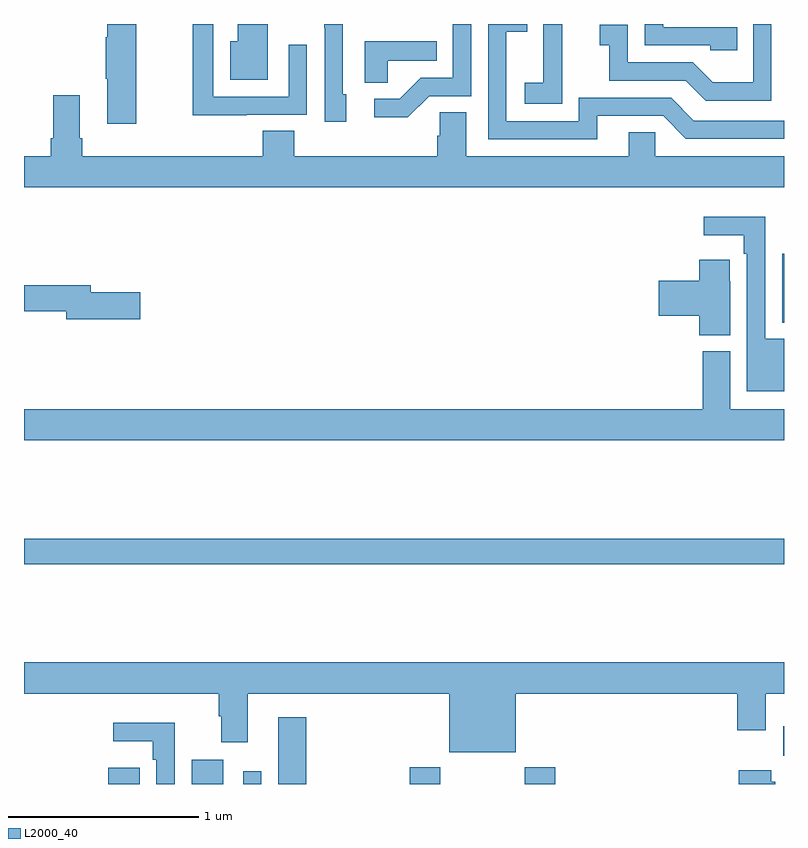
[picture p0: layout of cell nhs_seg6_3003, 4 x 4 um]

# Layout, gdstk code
import gdstk
lib = gdstk.Library(unit=1e-6, precision=1e-09)
def R(c, l, rs):  # rectangles x0, y0, x1, y1
    for r in rs: c.add(gdstk.rectangle(r[:2], r[2:], *l))
def P(c, l, *ps):  # polygons
    for p in ps: c.add(gdstk.Polygon(p, *l))
L2000_40 = (2000, 40)

nhs_seg6_3003 = lib.new_cell('nhs_seg6_3003')
R(nhs_seg6_3003, L2000_40, [(287.444,973.5,287.608,973.585), (287.882,973.5,288.049,973.627), (288.153,973.5,288.249,973.567), (288.338,973.5,288.485,973.852), (289.031,973.5,289.191,973.588), (289.636,973.5,289.796,973.588), (290.996,973.65,291,973.804), (287,974.656,291,974.792), (290.99,975.928,291,976.291)])
P(nhs_seg6_3003, L2000_40, [(288.283,977.5),(288.125,977.5),(288.125,977.41),(288.086,977.41),(288.086,977.207),(288.283,977.207)],
  [(289.134,977.121),(289.353,977.121),(289.353,977.5),(289.257,977.5),(289.257,977.217),(289.088,977.217),(288.977,977.106),(288.843,977.106),(288.843,977.009),(289.021,977.009)],
  [(287.592,977.5),(287.438,977.5),(287.438,977.429),(287.431,977.429),(287.431,977.212),(287.438,977.212),(287.438,976.974),(287.592,976.974)],
  [(290.934,977.5),(290.838,977.5),(290.838,977.194),(290.624,977.194),(290.52,977.298),(290.178,977.298),(290.178,977.497),(290.031,977.497),(290.031,977.387),(290.08,977.387),(290.08,977.202),(290.483,977.202),(290.588,977.097),(290.934,977.097)],
  [(288.697,977.13),(288.678,977.13),(288.678,977.5),(288.58,977.5),(288.58,977.479),(288.582,977.479),(288.582,976.986),(288.697,976.986)],
  [(288.173,977.022),(288.489,977.022),(288.489,977.392),(288.393,977.392),(288.393,977.118),(287.997,977.118),(287.997,977.5),(287.889,977.5),(287.889,977.021),(288.173,977.021)],
  [(290.017,977.016),(290.364,977.016),(290.484,976.896),(291,976.896),(291,976.992),(290.526,976.992),(290.406,977.112),(289.92,977.112),(289.92,976.989),(289.539,976.989),(289.539,977.458),(289.649,977.458),(289.649,977.5),(289.443,977.5),(289.443,976.893),(290.017,976.893)],
  [(289.833,977.287),(289.832,977.287),(289.832,977.5),(289.734,977.5),(289.734,977.42),(289.733,977.42),(289.733,977.191),(289.635,977.191),(289.635,977.081),(289.833,977.081)],
  [(290.753,977.484),(290.364,977.484),(290.364,977.5),(290.268,977.5),(290.268,977.388),(290.613,977.388),(290.613,977.361),(290.753,977.361)],
  [(288.915,977.306),(289.172,977.306),(289.172,977.41),(288.794,977.41),(288.794,977.191),(288.915,977.191)],
  [(291,976.804),(290.322,976.804),(290.322,976.931),(290.183,976.931),(290.183,976.804),(289.327,976.804),(289.327,977.036),(289.188,977.036),(289.188,976.913),(289.175,976.913),(289.175,976.804),(288.422,976.804),(288.422,976.937),(288.257,976.937),(288.257,976.804),(287.306,976.804),(287.306,976.9),(287.293,976.9),(287.293,977.125),(287.153,977.125),(287.153,976.9),(287.141,976.9),(287.141,976.804),(287,976.804),(287,976.64),(291,976.64)],
  [(291,975.843),(290.901,975.843),(290.901,976.486),(290.577,976.486),(290.577,976.388),(290.789,976.388),(290.789,976.292),(290.805,976.292),(290.805,975.566),(291,975.566)],
  [(290.716,976.145),(290.715,976.145),(290.715,976.258),(290.555,976.258),(290.555,976.148),(290.34,976.148),(290.34,975.965),(290.555,975.965),(290.555,975.862),(290.716,975.862)],
  [(287.611,976.088),(287.35,976.088),(287.35,976.124),(287,976.124),(287,975.988),(287.222,975.988),(287.222,975.946),(287.611,975.946)],
  [(291,975.472),(290.716,975.472),(290.716,975.777),(290.573,975.777),(290.573,975.472),(287,975.472),(287,975.308),(291,975.308)],
  [(289.588,973.976),(290.753,973.976),(290.753,973.782),(290.905,973.782),(290.905,973.976),(291,973.976),(291,974.14),(287,974.14),(287,973.976),(288.026,973.976),(288.026,973.856),(288.038,973.856),(288.038,973.719),(288.178,973.719),(288.178,973.976),(289.238,973.976),(289.238,973.667),(289.588,973.667)],
  [(287.793,973.822),(287.469,973.822),(287.469,973.724),(287.677,973.724),(287.677,973.628),(287.697,973.628),(287.697,973.5),(287.793,973.5)],
  [(290.953,973.512),(290.932,973.512),(290.932,973.573),(290.762,973.573),(290.762,973.5),(290.953,973.5)])

lib.write_gds('nhs_seg6_3003.gds')
